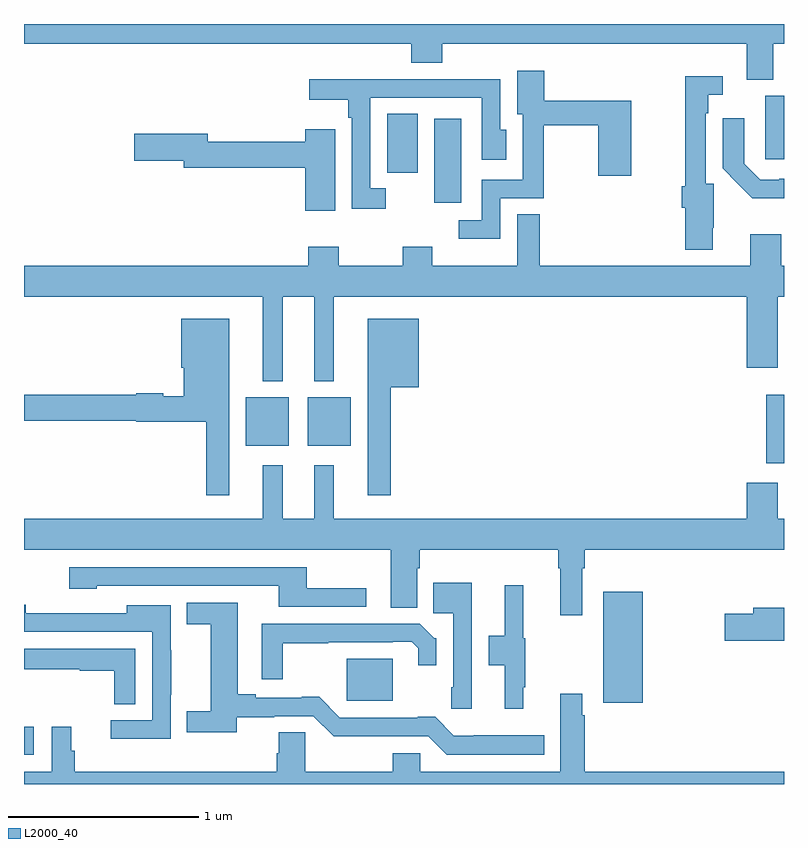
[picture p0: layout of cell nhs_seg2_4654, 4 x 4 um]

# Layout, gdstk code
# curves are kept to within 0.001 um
import gdstk
lib = gdstk.Library(unit=1e-6, precision=1e-09)
def R(c, l, rs):  # rectangles x0, y0, x1, y1
    for r in rs: c.add(gdstk.rectangle(r[:2], r[2:], *l))
def P(c, l, *ps):  # polygons
    for p in ps: c.add(gdstk.Polygon(p, *l))
L2000_40 = (2000, 40)

nhs_seg2_4654 = lib.new_cell('nhs_seg2_4654')
R(nhs_seg2_4654, L2000_40, [(365,583.953,365.05,584.101), (368.048,584.228,368.257,584.812), (366.698,584.237,366.94,584.458), (368.906,585.489,369,585.848), (366.167,585.581,366.394,585.835), (366.494,585.581,366.721,585.835), (367.16,586.86,367.3,587.302), (366.911,587.016,367.072,587.327), (368.9,587.088,369,587.422)])
P(nhs_seg2_4654, L2000_40, [(368.944,587.696),(369,587.696),(369,587.8),(365,587.8),(365,587.696),(367.037,587.696),(367.037,587.597),(367.202,587.597),(367.202,587.696),(368.804,587.696),(368.804,587.507),(368.944,587.507)],
  [(367.506,586.884),(367.736,586.884),(367.736,587.266),(368.023,587.266),(368.023,587.001),(368.196,587.001),(368.196,587.395),(367.739,587.395),(367.739,587.554),(367.595,587.554),(367.595,587.325),(367.625,587.325),(367.625,586.98),(367.41,586.98),(367.41,586.767),(367.287,586.767),(367.287,586.67),(367.506,586.67)],
  [(368.626,586.728),(368.631,586.728),(368.631,586.958),(368.589,586.958),(368.589,587.33),(368.601,587.33),(368.601,587.427),(368.677,587.427),(368.677,587.524),(368.481,587.524),(368.481,586.947),(368.462,586.947),(368.462,586.833),(368.48,586.833),(368.48,586.613),(368.626,586.613)],
  [(366.904,586.935),(366.822,586.935),(366.822,587.412),(367.41,587.412),(367.41,587.085),(367.537,587.085),(367.537,587.244),(367.506,587.244),(367.506,587.51),(367.285,587.51),(367.285,587.508),(366.919,587.508),(366.919,587.51),(366.501,587.51),(366.501,587.402),(366.706,587.402),(366.706,587.306),(366.726,587.306),(366.726,586.827),(366.904,586.827)],
  [(369,586.985),(368.974,586.985),(368.974,586.98),(368.874,586.98),(368.79,587.064),(368.79,587.305),(368.678,587.305),(368.678,587.04),(368.755,586.963),(368.754,586.962),(368.833,586.883),(369,586.883)],
  [(366.637,587.245),(366.479,587.245),(366.479,587.18),(365.968,587.18),(365.968,587.223),(365.58,587.223),(365.58,587.081),(365.84,587.081),(365.84,587.044),(366.479,587.044),(366.479,586.818),(366.637,586.818)],
  [(366.361,586.364),(366.527,586.364),(366.527,585.92),(366.631,585.92),(366.631,586.364),(368.804,586.364),(368.804,585.99),(368.968,585.99),(368.968,586.364),(369,586.364),(369,586.528),(368.986,586.528),(368.986,586.693),(368.822,586.693),(368.822,586.528),(367.714,586.528),(367.714,586.799),(367.595,586.799),(367.595,586.528),(367.149,586.528),(367.149,586.627),(366.994,586.627),(366.994,586.528),(366.657,586.528),(366.657,586.627),(366.497,586.627),(366.497,586.528),(365,586.528),(365,586.364),(366.257,586.364),(366.257,585.92),(366.361,585.92)],
  [(366.079,586.249),(365.828,586.249),(365.828,585.99),(365.84,585.99),(365.84,585.841),(365.732,585.841),(365.732,585.856),(365.592,585.856),(365.592,585.848),(365,585.848),(365,585.712),(365.592,585.712),(365.592,585.707),(365.958,585.707),(365.958,585.321),(366.079,585.321)],
  [(366.931,585.887),(367.078,585.887),(367.078,586.249),(366.809,586.249),(366.809,585.321),(366.931,585.321)],
  [(366.631,585.478),(366.527,585.478),(366.527,585.196),(366.361,585.196),(366.361,585.478),(366.257,585.478),(366.257,585.196),(365,585.196),(365,585.032),(366.929,585.032),(366.929,584.728),(367.069,584.728),(367.069,584.936),(367.082,584.936),(367.082,585.032),(367.811,585.032),(367.811,584.936),(367.823,584.936),(367.823,584.688),(367.939,584.688),(367.939,584.936),(367.952,584.936),(367.952,585.032),(369,585.032),(369,585.196),(368.968,585.196),(368.968,585.385),(368.804,585.385),(368.804,585.196),(366.631,585.196)],
  [(366.802,584.831),(366.489,584.831),(366.489,584.94),(365.238,584.94),(365.238,584.828),(365.382,584.828),(365.382,584.844),(366.341,584.844),(366.341,584.733),(366.802,584.733)],
  [(367.356,584.86),(367.154,584.86),(367.154,584.7),(367.26,584.7),(367.26,584.308),(367.248,584.308),(367.248,584.196),(367.356,584.196)],
  [(367.628,584.308),(367.639,584.308),(367.639,584.568),(367.628,584.568),(367.628,584.845),(367.529,584.845),(367.529,584.58),(367.445,584.58),(367.445,584.425),(367.529,584.425),(367.529,584.196),(367.628,584.196)],
  [(367.738,584.056),(367.263,584.055),(367.165,584.153),(367.073,584.153),(367.073,584.148),(366.663,584.148),(366.553,584.258),(366.461,584.258),(366.461,584.253),(366.22,584.253),(366.22,584.273),(366.124,584.273),(366.124,584.755),(365.857,584.755),(365.857,584.641),(365.984,584.641),(365.984,584.183),(365.857,584.183),(365.857,584.072),(366.121,584.072),(366.121,584.152),(366.318,584.152),(366.318,584.157),(366.522,584.157),(366.629,584.051),(367.128,584.052),(367.225,583.955),(367.738,583.955)],
  [(365.772,584.269),(365.774,584.269),(365.774,584.504),(365.772,584.504),(365.772,584.74),(365.54,584.74),(365.54,584.698),(365.01,584.698),(365.01,584.744),(365,584.744),(365,584.601),(365.676,584.601),(365.676,584.136),(365.457,584.136),(365.457,584.039),(365.772,584.039)],
  [(369,584.727),(368.837,584.727),(368.837,584.697),(368.688,584.697),(368.688,584.555),(369,584.555)],
  [(366.361,584.542),(366.602,584.542),(366.602,584.547),(366.941,584.547),(366.941,584.55),(367.04,584.55),(367.076,584.514),(367.076,584.424),(367.17,584.424),(367.17,584.568),(367.159,584.568),(367.084,584.643),(366.252,584.643),(366.252,584.352),(366.361,584.352)],
  [(365.586,584.511),(365,584.511),(365,584.403),(365.293,584.403),(365.293,584.395),(365.474,584.395),(365.474,584.221),(365.586,584.221)],
  [(369,583.864),(367.952,583.864),(367.952,584.162),(367.939,584.162),(367.939,584.275),(367.823,584.275),(367.823,583.864),(367.086,583.864),(367.086,583.962),(366.94,583.962),(366.94,583.864),(366.48,583.864),(366.48,584.072),(366.341,584.072),(366.341,583.962),(366.329,583.962),(366.329,583.864),(365.266,583.864),(365.266,583.974),(365.248,583.974),(365.248,584.101),(365.147,584.101),(365.147,583.864),(365,583.864),(365,583.8),(369,583.8)])

lib.write_gds('nhs_seg2_4654.gds')
